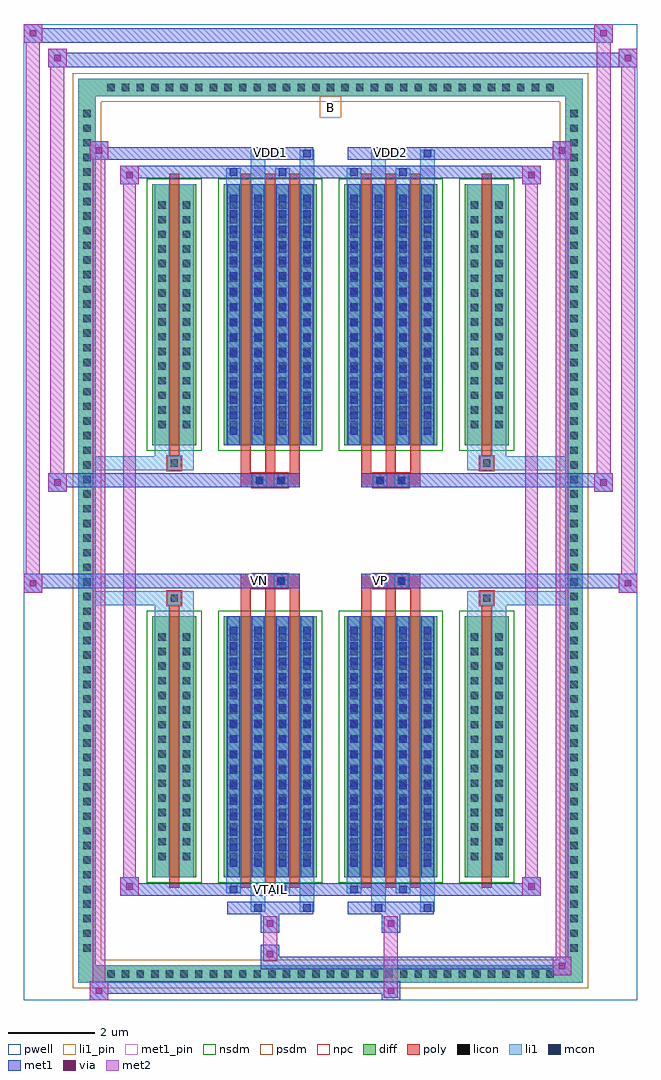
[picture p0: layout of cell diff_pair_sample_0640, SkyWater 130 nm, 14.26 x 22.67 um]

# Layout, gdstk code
import gdstk
lib = gdstk.Library(unit=1e-6, precision=5e-09)
def R(c, l, rs):  # rectangles x0, y0, x1, y1
    for r in rs: c.add(gdstk.rectangle(r[:2], r[2:], *l))
def A(c, l, x, y, w, h, nx, ny, dx, dy):  # array of equal rectangles
    R(c, l, [(x+i*dx, y+j*dy, x+i*dx+w, y+j*dy+h) for i in range(nx) for j in range(ny)])
def P(c, l, *ps):  # polygons
    for p in ps: c.add(gdstk.Polygon(p, *l))
pwell = (64, 44)
diff = (65, 20)
poly = (66, 20)
licon = (66, 44)
li1_pin = (67, 16)
li1 = (67, 20)
mcon = (67, 44)
met1_pin = (68, 16)
met1 = (68, 20)
via = (68, 44)
met2 = (69, 20)
nsdm = (93, 44)
psdm = (94, 20)
npc = (95, 20)

diff_pair_sample_0640 = lib.new_cell('diff_pair_sample_0640')
R(diff_pair_sample_0640, pwell, [(-7.13,-10.9,7.13,11.77), (-4.45,-9.09,-0.01,-0.805), (0.01,-9.09,4.45,-0.805), (-4.45,0.805,-0.01,9.09), (0.01,0.805,4.45,9.09)])
A(diff_pair_sample_0640, diff, -5.305, -10.5, 0.41, 0.41, 31, 2, 0.34, 20.59)
A(diff_pair_sample_0640, diff, -5.86, -9.895, 0.41, 0.41, 1, 58, 0, 0.34)
A(diff_pair_sample_0640, diff, 5.45, -9.895, 0.41, 0.41, 1, 58, 0, 0.34)
R(diff_pair_sample_0640, diff, [(-5.305,-10.5,5.305,-10.09), (-5.86,-9.895,-5.45,9.895), (5.45,-9.895,5.86,9.895), (-4.14,-8.045,-3.12,-1.985), (-2.48,-8.045,-0.32,-1.985), (0.32,-8.045,2.48,-1.985), (3.12,-8.045,4.14,-1.985), (-4.14,1.985,-3.12,8.045), (-2.48,1.985,-0.32,8.045), (0.32,1.985,2.48,8.045), (3.12,1.985,4.14,8.045), (-5.305,10.09,5.305,10.5)])
P(diff_pair_sample_0640, diff, [(5.86,10.5),(-5.86,10.5),(-5.86,-10.09),(-5.45,-10.09),(-5.45,10.09),(5.45,10.09),(5.45,-10.09),(-5.45,-10.09),(-5.86,-10.09),(-5.86,-10.5),(5.86,-10.5)])
A(diff_pair_sample_0640, poly, -2.09, -8.295, 0.24, 6.56, 3, 2, 0.57, 10.03)
A(diff_pair_sample_0640, poly, 0.71, -8.295, 0.24, 6.56, 3, 2, 0.57, 10.03)
A(diff_pair_sample_0640, poly, -2.09, -1.735, 0.24, 0.4, 3, 2, 0.57, 3.07)
A(diff_pair_sample_0640, poly, 0.71, -1.735, 0.24, 0.4, 3, 2, 0.57, 3.07)
R(diff_pair_sample_0640, poly, [(-3.75,-8.295,-3.51,-1.735), (3.51,-8.295,3.75,-1.735), (-3.795,-1.735,-3.465,-1.405), (-3.795,-1.735,-3.465,-1.405), (3.465,-1.735,3.795,-1.405), (3.465,-1.735,3.795,-1.405), (-2.09,-1.335,-0.71,-1.005), (-1.815,-1.335,-1.485,-1.005), (-1.315,-1.335,-0.985,-1.005), (0.71,-1.335,2.09,-1.005), (0.985,-1.335,1.315,-1.005), (1.485,-1.335,1.815,-1.005), (-2.09,1.005,-0.71,1.335), (-1.815,1.005,-1.485,1.335), (-1.315,1.005,-0.985,1.335), (0.71,1.005,2.09,1.335), (0.985,1.005,1.315,1.335), (1.485,1.005,1.815,1.335), (-3.795,1.405,-3.465,1.735), (-3.795,1.405,-3.465,1.735), (3.465,1.405,3.795,1.735), (3.465,1.405,3.795,1.735), (-3.75,1.735,-3.51,8.295), (3.51,1.735,3.75,8.295)])
A(diff_pair_sample_0640, licon, -5.185, -10.38, 0.17, 0.17, 31, 2, 0.34, 20.59)
A(diff_pair_sample_0640, licon, -5.74, -9.775, 0.17, 0.17, 1, 58, 0, 0.34)
A(diff_pair_sample_0640, licon, 5.57, -9.775, 0.17, 0.17, 1, 58, 0, 0.34)
A(diff_pair_sample_0640, licon, -4, -7.65, 0.17, 0.17, 1, 16, 0, 0.34)
A(diff_pair_sample_0640, licon, -3.43, -7.65, 0.17, 0.17, 1, 16, 0, 0.34)
A(diff_pair_sample_0640, licon, -2.34, -7.65, 0.17, 0.17, 4, 16, 0.57, 0.34)
A(diff_pair_sample_0640, licon, 0.46, -7.65, 0.17, 0.17, 4, 16, 0.57, 0.34)
A(diff_pair_sample_0640, licon, 3.26, -7.65, 0.17, 0.17, 1, 16, 0, 0.34)
A(diff_pair_sample_0640, licon, 3.83, -7.65, 0.17, 0.17, 1, 16, 0, 0.34)
A(diff_pair_sample_0640, licon, -4, 2.38, 0.17, 0.17, 1, 16, 0, 0.34)
A(diff_pair_sample_0640, licon, -3.43, 2.38, 0.17, 0.17, 1, 16, 0, 0.34)
A(diff_pair_sample_0640, licon, -2.34, 2.38, 0.17, 0.17, 4, 16, 0.57, 0.34)
A(diff_pair_sample_0640, licon, 0.46, 2.38, 0.17, 0.17, 4, 16, 0.57, 0.34)
A(diff_pair_sample_0640, licon, 3.26, 2.38, 0.17, 0.17, 1, 16, 0, 0.34)
A(diff_pair_sample_0640, licon, 3.83, 2.38, 0.17, 0.17, 1, 16, 0, 0.34)
R(diff_pair_sample_0640, licon, [(-3.715,-1.655,-3.545,-1.485), (3.545,-1.655,3.715,-1.485), (-1.735,-1.255,-1.565,-1.085), (-1.235,-1.255,-1.065,-1.085), (1.065,-1.255,1.235,-1.085), (1.565,-1.255,1.735,-1.085), (-1.735,1.085,-1.565,1.255), (-1.235,1.085,-1.065,1.255), (1.065,1.085,1.235,1.255), (1.565,1.085,1.735,1.255), (-3.715,1.485,-3.545,1.655), (3.545,1.485,3.715,1.655)])
R(diff_pair_sample_0640, li1_pin, [(-0.25,9.59,0.25,10.09)])
A(diff_pair_sample_0640, li1, -5.265, -10.46, 0.33, 0.33, 31, 2, 0.34, 20.59)
A(diff_pair_sample_0640, li1, -5.82, -9.855, 0.33, 0.33, 1, 58, 0, 0.34)
A(diff_pair_sample_0640, li1, 5.49, -9.855, 0.33, 0.33, 1, 58, 0, 0.34)
A(diff_pair_sample_0640, li1, -2.42, -8.045, 0.33, 6.06, 4, 2, 0.57, 10.03)
A(diff_pair_sample_0640, li1, 0.38, -8.045, 0.33, 6.06, 4, 2, 0.57, 10.03)
A(diff_pair_sample_0640, li1, -2.34, -7.8, 0.17, 0.17, 4, 16, 0.57, 0.36)
A(diff_pair_sample_0640, li1, -2.34, -7.8, 0.17, 5.57, 4, 2, 0.57, 10.03)
A(diff_pair_sample_0640, li1, 0.46, -7.8, 0.17, 0.17, 4, 16, 0.57, 0.36)
A(diff_pair_sample_0640, li1, 0.46, -7.8, 0.17, 5.57, 4, 2, 0.57, 10.03)
A(diff_pair_sample_0640, li1, -4.08, -7.73, 0.33, 0.33, 1, 16, 0, 0.34)
A(diff_pair_sample_0640, li1, -3.51, -7.73, 0.33, 0.33, 1, 16, 0, 0.34)
A(diff_pair_sample_0640, li1, -2.42, -7.73, 0.33, 0.33, 4, 16, 0.57, 0.34)
A(diff_pair_sample_0640, li1, 0.38, -7.73, 0.33, 0.33, 4, 16, 0.57, 0.34)
A(diff_pair_sample_0640, li1, 3.18, -7.73, 0.33, 0.33, 1, 16, 0, 0.34)
A(diff_pair_sample_0640, li1, 3.75, -7.73, 0.33, 0.33, 1, 16, 0, 0.34)
A(diff_pair_sample_0640, li1, -2.34, 2.23, 0.17, 0.17, 4, 16, 0.57, 0.36)
A(diff_pair_sample_0640, li1, 0.46, 2.23, 0.17, 0.17, 4, 16, 0.57, 0.36)
A(diff_pair_sample_0640, li1, -4.08, 2.3, 0.33, 0.33, 1, 16, 0, 0.34)
A(diff_pair_sample_0640, li1, -3.51, 2.3, 0.33, 0.33, 1, 16, 0, 0.34)
A(diff_pair_sample_0640, li1, -2.42, 2.3, 0.33, 0.33, 4, 16, 0.57, 0.34)
A(diff_pair_sample_0640, li1, 0.38, 2.3, 0.33, 0.33, 4, 16, 0.57, 0.34)
A(diff_pair_sample_0640, li1, 3.18, 2.3, 0.33, 0.33, 1, 16, 0, 0.34)
A(diff_pair_sample_0640, li1, 3.75, 2.3, 0.33, 0.33, 1, 16, 0, 0.34)
R(diff_pair_sample_0640, li1, [(-5.86,-10.5,-5.45,-10.09), (-5.86,-10.5,-5.45,-10.09), (-5.45,-10.5,5.45,-10.09), (5.45,-10.5,5.86,-10.09), (5.45,-10.5,5.86,-10.09), (-5.86,-10.09,-5.45,10.09), (5.45,-10.09,5.86,10.09), (-1.85,-8.85,-1.52,-8.045), (-1.77,-8.85,-1.6,-8.68), (-0.71,-8.85,-0.38,-8.045), (-0.63,-8.85,-0.46,-8.68), (0.95,-8.85,1.28,-8.045), (1.03,-8.85,1.2,-8.68), (2.09,-8.85,2.42,-8.045), (2.17,-8.85,2.34,-8.68), (-2.42,-8.42,-2.09,-8.045), (-2.34,-8.42,-2.17,-8.25), (-1.28,-8.42,-0.95,-8.045), (-1.2,-8.42,-1.03,-8.25), (0.38,-8.42,0.71,-8.045), (0.46,-8.42,0.63,-8.25), (1.52,-8.42,1.85,-8.045), (1.6,-8.42,1.77,-8.25), (-4.08,-8.045,-3.75,-1.985), (-3.51,-8.045,-3.18,-1.985), (3.18,-8.045,3.51,-1.985), (3.75,-8.045,4.08,-1.985), (-4.08,-1.985,-3.75,-1.405), (-3.51,-1.985,-3.18,-1.405), (3.18,-1.985,3.51,-1.405), (3.75,-1.985,4.08,-1.405), (-5.86,-1.735,-3.795,-1.405), (-4.08,-1.735,-3.795,-1.405), (-3.795,-1.735,-3.465,-1.405), (-3.465,-1.735,-3.18,-1.405), (3.18,-1.735,3.465,-1.405), (3.465,-1.735,3.795,-1.405), (3.465,-1.735,5.86,-1.405), (3.795,-1.735,4.08,-1.405), (-1.815,-1.335,-1.485,-1.005), (-1.315,-1.335,-0.985,-1.005), (0.985,-1.335,1.315,-1.005), (1.485,-1.335,1.815,-1.005), (-1.815,1.005,-1.485,1.335), (-1.315,1.005,-0.985,1.335), (0.985,1.005,1.315,1.335), (1.485,1.005,1.815,1.335), (-5.86,1.405,-3.795,1.735), (-4.08,1.405,-3.795,1.735), (-4.08,1.405,-3.75,1.985), (-3.795,1.405,-3.465,1.735), (-3.51,1.405,-3.18,1.985), (-3.465,1.405,-3.18,1.735), (3.18,1.405,3.465,1.735), (3.18,1.405,3.51,1.985), (3.465,1.405,3.795,1.735), (3.465,1.405,5.86,1.735), (3.75,1.405,4.08,1.985), (3.795,1.405,4.08,1.735), (-4.08,1.985,-3.75,8.045), (-3.51,1.985,-3.18,8.045), (3.18,1.985,3.51,8.045), (3.75,1.985,4.08,8.045), (-2.42,8.045,-2.09,8.42), (-1.85,8.045,-1.52,8.85), (-1.28,8.045,-0.95,8.42), (-0.71,8.045,-0.38,8.85), (0.38,8.045,0.71,8.42), (0.95,8.045,1.28,8.85), (1.52,8.045,1.85,8.42), (2.09,8.045,2.42,8.85), (-2.34,8.25,-2.17,8.42), (-1.2,8.25,-1.03,8.42), (0.46,8.25,0.63,8.42), (1.6,8.25,1.77,8.42), (-1.77,8.68,-1.6,8.85), (-0.63,8.68,-0.46,8.85), (1.03,8.68,1.2,8.85), (2.17,8.68,2.34,8.85), (-5.86,10.09,-5.45,10.5), (-5.86,10.09,-5.45,10.5), (-5.45,10.09,5.45,10.5), (5.45,10.09,5.86,10.5), (5.45,10.09,5.86,10.5)])
A(diff_pair_sample_0640, mcon, -2.34, -7.8, 0.17, 0.17, 4, 16, 0.57, 0.36)
A(diff_pair_sample_0640, mcon, 0.46, -7.8, 0.17, 0.17, 4, 16, 0.57, 0.36)
A(diff_pair_sample_0640, mcon, -2.34, 2.23, 0.17, 0.17, 4, 16, 0.57, 0.36)
A(diff_pair_sample_0640, mcon, 0.46, 2.23, 0.17, 0.17, 4, 16, 0.57, 0.36)
R(diff_pair_sample_0640, mcon, [(-1.77,-8.85,-1.6,-8.68), (-0.63,-8.85,-0.46,-8.68), (1.03,-8.85,1.2,-8.68), (2.17,-8.85,2.34,-8.68), (-2.34,-8.42,-2.17,-8.25), (-1.2,-8.42,-1.03,-8.25), (0.46,-8.42,0.63,-8.25), (1.6,-8.42,1.77,-8.25), (-1.735,-1.255,-1.565,-1.085), (-1.235,-1.255,-1.065,-1.085), (1.065,-1.255,1.235,-1.085), (1.565,-1.255,1.735,-1.085), (-1.735,1.085,-1.565,1.255), (-1.235,1.085,-1.065,1.255), (1.065,1.085,1.235,1.255), (1.565,1.085,1.735,1.255), (-2.34,8.25,-2.17,8.42), (-1.2,8.25,-1.03,8.42), (0.46,8.25,0.63,8.42), (1.6,8.25,1.77,8.42), (-1.77,8.68,-1.6,8.85), (-0.63,8.68,-0.46,8.85), (1.03,8.68,1.2,8.85), (2.17,8.68,2.34,8.85)])
R(diff_pair_sample_0640, met1_pin, [(-1.535,-8.46,-1.265,-8.19), (-1.785,-1.295,-1.515,-1.025), (1.015,-1.295,1.285,-1.025), (-1.535,8.64,-1.265,8.91), (1.265,8.64,1.535,8.91)])
A(diff_pair_sample_0640, met1, -2.4, -8.045, 0.29, 6.06, 4, 2, 0.57, 10.03)
A(diff_pair_sample_0640, met1, 0.4, -8.045, 0.29, 6.06, 4, 2, 0.57, 10.03)
A(diff_pair_sample_0640, met1, -2.4, -7.86, 0.29, 0.29, 4, 16, 0.57, 0.36)
A(diff_pair_sample_0640, met1, 0.4, -7.86, 0.29, 0.29, 4, 16, 0.57, 0.36)
A(diff_pair_sample_0640, met1, -2.4, 2.17, 0.29, 0.29, 4, 16, 0.57, 0.36)
A(diff_pair_sample_0640, met1, 0.4, 2.17, 0.29, 0.29, 4, 16, 0.57, 0.36)
R(diff_pair_sample_0640, met1, [(-5.59,-10.9,-5.16,-10.47), (1.185,-10.9,1.615,-10.47), (-5.59,-10.76,1.615,-10.47), (5.16,-10.33,5.59,-9.9), (-1.615,-10.19,5.59,-9.9), (-1.615,-10.05,-1.185,-9.62), (-1.615,-9.34,-1.185,-8.91), (1.185,-9.34,1.615,-8.91), (-2.4,-8.91,-0.4,-8.62), (-1.83,-8.91,-1.54,-8.62), (-0.69,-8.91,-0.4,-8.62), (0.4,-8.91,2.4,-8.62), (0.97,-8.91,1.26,-8.62), (2.11,-8.91,2.4,-8.62), (-4.88,-8.48,-4.45,-8.05), (-4.88,-8.48,-2.4,-8.19), (-2.4,-8.48,-2.11,-8.19), (-2.4,-8.48,-0.4,-8.19), (-1.26,-8.48,-0.97,-8.19), (-0.4,-8.48,0.4,-8.19), (0.4,-8.48,0.69,-8.19), (0.4,-8.48,2.4,-8.19), (1.54,-8.48,1.83,-8.19), (2.4,-8.48,4.88,-8.19), (4.45,-8.48,4.88,-8.05), (-7.13,-1.435,-6.7,-1.005), (6.7,-1.435,7.13,-1.005), (-7.13,-1.335,-0.71,-1.005), (-2.09,-1.335,-0.71,-1.005), (0.71,-1.335,2.09,-1.005), (0.71,-1.335,7.13,-1.005), (-1.795,-1.315,-1.505,-1.025), (-1.295,-1.315,-1.005,-1.025), (1.005,-1.315,1.295,-1.025), (1.505,-1.315,1.795,-1.025), (-6.56,0.905,-6.13,1.335), (6.13,0.905,6.56,1.335), (-6.56,1.005,-2.09,1.335), (-2.09,1.005,-0.71,1.335), (0.71,1.005,2.09,1.335), (2.09,1.005,6.56,1.335), (-1.795,1.025,-1.505,1.315), (-1.295,1.025,-1.005,1.315), (1.005,1.025,1.295,1.315), (1.505,1.025,1.795,1.315), (-4.88,8.05,-4.45,8.48), (4.45,8.05,4.88,8.48), (-4.88,8.19,-2.4,8.48), (-2.4,8.19,-2.11,8.48), (-2.4,8.19,-0.4,8.48), (-1.26,8.19,-0.97,8.48), (-0.4,8.19,0.4,8.48), (0.4,8.19,0.69,8.48), (0.4,8.19,2.4,8.48), (1.54,8.19,1.83,8.48), (2.4,8.19,4.88,8.48), (-5.59,8.62,-5.16,9.05), (-5.59,8.62,-2.4,8.91), (-2.4,8.62,-0.4,8.91), (-1.83,8.62,-1.54,8.91), (-0.69,8.62,-0.4,8.91), (0.4,8.62,2.4,8.91), (0.97,8.62,1.26,8.91), (2.11,8.62,2.4,8.91), (2.4,8.62,5.59,8.91), (5.16,8.62,5.59,9.05), (-6.56,10.77,-6.13,11.2), (-6.56,10.77,-4.45,11.1), (-4.45,10.77,4.45,11.1), (4.45,10.77,7.13,11.1), (6.7,10.77,7.13,11.2), (-7.13,11.34,-6.7,11.77), (-7.13,11.34,-4.45,11.67), (-4.45,11.34,4.45,11.67), (4.45,11.34,6.56,11.67), (6.13,11.34,6.56,11.77)])
R(diff_pair_sample_0640, via, [(-5.45,-10.76,-5.3,-10.61), (1.325,-10.76,1.475,-10.61), (5.3,-10.19,5.45,-10.04), (-1.475,-9.91,-1.325,-9.76), (-1.475,-9.2,-1.325,-9.05), (1.325,-9.2,1.475,-9.05), (-4.74,-8.34,-4.59,-8.19), (4.59,-8.34,4.74,-8.19), (-6.99,-1.295,-6.84,-1.145), (6.84,-1.295,6.99,-1.145), (-6.42,1.045,-6.27,1.195), (6.27,1.045,6.42,1.195), (-4.74,8.19,-4.59,8.34), (4.59,8.19,4.74,8.34), (-5.45,8.76,-5.3,8.91), (5.3,8.76,5.45,8.91), (-6.42,10.91,-6.27,11.06), (6.84,10.91,6.99,11.06), (-6.99,11.48,-6.84,11.63), (6.27,11.48,6.42,11.63)])
R(diff_pair_sample_0640, met2, [(-5.59,-10.9,-5.16,-10.47), (-5.52,-10.9,-5.23,9.05), (-5.23,-10.9,-5.16,-10.47), (-5.54,-10.85,-5.21,-10.52), (1.235,-10.85,1.565,-10.52), (1.235,-10.52,1.565,-9.29), (5.16,-10.33,5.59,-9.9), (5.23,-10.33,5.52,9.05), (5.52,-10.33,5.59,-9.9), (5.21,-10.28,5.54,-9.95), (-1.565,-10,-1.235,-9.67), (-1.565,-9.67,-1.235,-9.29), (-1.565,-9.29,-1.235,-8.96), (1.235,-9.29,1.565,-8.96), (-4.88,-8.48,-4.45,-8.05), (-4.81,-8.48,-4.52,8.48), (-4.52,-8.48,-4.45,-8.05), (4.45,-8.48,4.88,-8.05), (4.52,-8.48,4.81,8.48), (4.81,-8.48,4.88,-8.05), (-4.83,-8.43,-4.5,-8.1), (4.5,-8.43,4.83,-8.1), (-7.13,-1.435,-6.7,-1.005), (-7.08,-1.435,-6.75,11.77), (-6.75,-1.435,-6.7,-1.005), (6.7,-1.435,7.13,-1.005), (6.75,-1.435,7.08,11.2), (7.08,-1.435,7.13,-1.005), (-7.08,-1.385,-6.75,-1.055), (6.75,-1.385,7.08,-1.055), (-6.56,0.905,-6.13,1.335), (-6.51,0.905,-6.18,11.2), (-6.18,0.905,-6.13,1.335), (6.13,0.905,6.56,1.335), (6.18,0.905,6.51,11.77), (6.51,0.905,6.56,1.335), (-6.51,0.955,-6.18,1.285), (6.18,0.955,6.51,1.285), (-4.88,8.05,-4.45,8.48), (-4.52,8.05,-4.45,8.48), (4.45,8.05,4.88,8.48), (4.81,8.05,4.88,8.48), (-4.83,8.1,-4.5,8.43), (4.5,8.1,4.83,8.43), (-5.59,8.62,-5.16,9.05), (-5.23,8.62,-5.16,9.05), (5.16,8.62,5.59,9.05), (5.52,8.62,5.59,9.05), (-5.54,8.67,-5.21,9), (5.21,8.67,5.54,9), (-6.56,10.77,-6.13,11.2), (-6.18,10.77,-6.13,11.2), (6.7,10.77,7.13,11.2), (7.08,10.77,7.13,11.2), (-6.51,10.82,-6.18,11.15), (6.75,10.82,7.08,11.15), (-7.13,11.34,-6.7,11.77), (-6.75,11.34,-6.7,11.77), (6.13,11.34,6.56,11.77), (6.51,11.34,6.56,11.77), (-7.08,11.39,-6.75,11.72), (6.18,11.39,6.51,11.72)])
R(diff_pair_sample_0640, nsdm, [(-4.27,-8.175,-2.99,-1.855), (-2.61,-8.175,-0.19,-1.855), (0.19,-8.175,2.61,-1.855), (2.99,-8.175,4.27,-1.855), (-4.27,1.855,-2.99,8.175), (-2.61,1.855,-0.19,8.175), (0.19,1.855,2.61,8.175), (2.99,1.855,4.27,8.175)])
P(diff_pair_sample_0640, psdm, [(5.99,10.63),(-5.99,10.63),(-5.99,-9.96),(-5.32,-9.96),(-5.32,9.96),(5.32,9.96),(5.32,-9.96),(-5.32,-9.96),(-5.99,-9.96),(-5.99,-10.63),(5.99,-10.63)])
R(diff_pair_sample_0640, npc, [(-3.815,-1.755,-3.445,-1.385), (3.445,-1.755,3.815,-1.385), (-1.835,-1.355,-1.465,-0.985), (-1.835,-1.355,-0.965,-0.985), (-1.835,-1.355,-0.965,-0.985), (-1.335,-1.355,-0.965,-0.985), (0.965,-1.355,1.335,-0.985), (0.965,-1.355,1.835,-0.985), (0.965,-1.355,1.835,-0.985), (1.465,-1.355,1.835,-0.985), (-1.835,0.985,-1.465,1.355), (-1.835,0.985,-0.965,1.355), (-1.835,0.985,-0.965,1.355), (-1.335,0.985,-0.965,1.355), (0.965,0.985,1.335,1.355), (0.965,0.985,1.835,1.355), (0.965,0.985,1.835,1.355), (1.465,0.985,1.835,1.355), (-3.815,1.385,-3.445,1.755), (3.445,1.385,3.815,1.755)])
diff_pair_sample_0640.add(gdstk.Label('VTAIL', (-1.4,-8.325), layer=68, texttype=5))
diff_pair_sample_0640.add(gdstk.Label('VN', (-1.65,-1.16), layer=68, texttype=5))
diff_pair_sample_0640.add(gdstk.Label('VP', (1.15,-1.16), layer=68, texttype=5))
diff_pair_sample_0640.add(gdstk.Label('B', (0,9.84), layer=67, texttype=5))
diff_pair_sample_0640.add(gdstk.Label('VDD2', (1.4,8.775), layer=68, texttype=5))
diff_pair_sample_0640.add(gdstk.Label('VDD1', (-1.4,8.775), layer=68, texttype=5))

lib.write_gds('diff_pair_sample_0640.gds')
